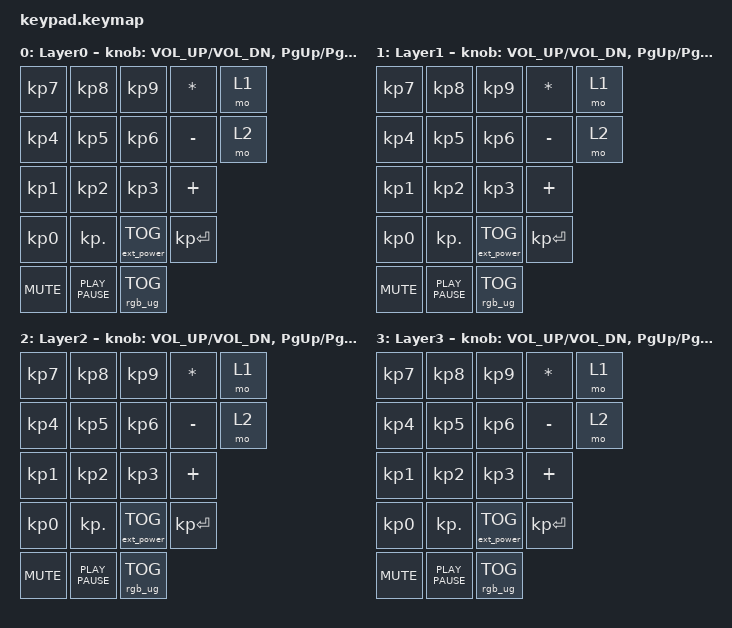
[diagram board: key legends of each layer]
/*
 * Copyright (c) 2021 The ZMK Contributors
 *
 * SPDX-License-Identifier: MIT
 */

#include <behaviors.dtsi>
#include <dt-bindings/zmk/ext_power.h>
#include <dt-bindings/zmk/keys.h>
#include <dt-bindings/zmk/rgb.h>

/ {
    behaviors {
        rgb_encoder: rgb_encoder {
            compatible = "zmk,behavior-sensor-rotate";
            #sensor-binding-cells = <0>;
            bindings = <&rgb_ug RGB_BRI>, <&rgb_ug RGB_BRD>;
        };
    };

    combos {
        compatible = "zmk,combos";

        tolayer3 {
            bindings = <&mo 3>;
            key-positions = <4 9>;
        };
    };

    keymap {
        compatible = "zmk,keymap";

        layer_0 {
            bindings = <
&kp KP_NUMBER_7  &kp KP_NUMBER_8   &kp KP_NUMBER_9    &kp STAR      &mo 1
&kp KP_NUMBER_4  &kp KP_NUMBER_5   &kp KP_NUMBER_6    &kp MINUS     &mo 2
&kp KP_NUMBER_1  &kp KP_NUMBER_2   &kp KP_NUMBER_3    &kp PLUS
&kp KP_NUMBER_0  &kp KP_DOT       &ext_power EP_TOG  &kp KP_ENTER
&kp C_MUTE       &kp K_PLAY_PAUSE  &rgb_ug RGB_TOG
            >;

            label = "Layer0";
            sensor-bindings = <&inc_dec_kp C_VOL_UP C_VOL_DN &inc_dec_kp PG_UP PG_DN &rgb_encoder>;
        };

        layer_1 {
            label = "Layer1";
            bindings = <
&kp KP_NUMBER_7  &kp KP_NUMBER_8   &kp KP_NUMBER_9    &kp STAR      &mo 1
&kp KP_NUMBER_4  &kp KP_NUMBER_5   &kp KP_NUMBER_6    &kp MINUS     &mo 2
&kp KP_NUMBER_1  &kp KP_NUMBER_2   &kp KP_NUMBER_3    &kp PLUS
&kp KP_NUMBER_0  &kp KP_DOT        &ext_power EP_TOG  &kp KP_ENTER
&kp C_MUTE       &kp K_PLAY_PAUSE  &rgb_ug RGB_TOG
            >;

            sensor-bindings =
                <&inc_dec_kp C_VOL_UP C_VOL_DN>,
                <&inc_dec_kp PG_UP PG_DN>,
                <&rgb_encoder>;
        };

        layer_2 {
            label = "Layer2";
            bindings = <
&kp KP_NUMBER_7  &kp KP_NUMBER_8   &kp KP_NUMBER_9    &kp STAR      &mo 1
&kp KP_NUMBER_4  &kp KP_NUMBER_5   &kp KP_NUMBER_6    &kp MINUS     &mo 2
&kp KP_NUMBER_1  &kp KP_NUMBER_2   &kp KP_NUMBER_3    &kp PLUS
&kp KP_NUMBER_0  &kp KP_DOT        &ext_power EP_TOG  &kp KP_ENTER
&kp C_MUTE       &kp K_PLAY_PAUSE  &rgb_ug RGB_TOG
            >;

            sensor-bindings =
                <&inc_dec_kp C_VOL_UP C_VOL_DN>,
                <&inc_dec_kp PG_UP PG_DN>,
                <&rgb_encoder>;
        };

        layer_3 {
            label = "Layer3";
            bindings = <
&kp KP_NUMBER_7  &kp KP_NUMBER_8   &kp KP_NUMBER_9    &kp STAR      &mo 1
&kp KP_NUMBER_4  &kp KP_NUMBER_5   &kp KP_NUMBER_6    &kp MINUS     &mo 2
&kp KP_NUMBER_1  &kp KP_NUMBER_2   &kp KP_NUMBER_3    &kp PLUS
&kp KP_NUMBER_0  &kp KP_DOT        &ext_power EP_TOG  &kp KP_ENTER
&kp C_MUTE       &kp K_PLAY_PAUSE  &rgb_ug RGB_TOG
            >;

            sensor-bindings =
                <&inc_dec_kp C_VOL_UP C_VOL_DN>,
                <&inc_dec_kp PG_UP PG_DN>,
                <&rgb_encoder>;
        };
    };
};
